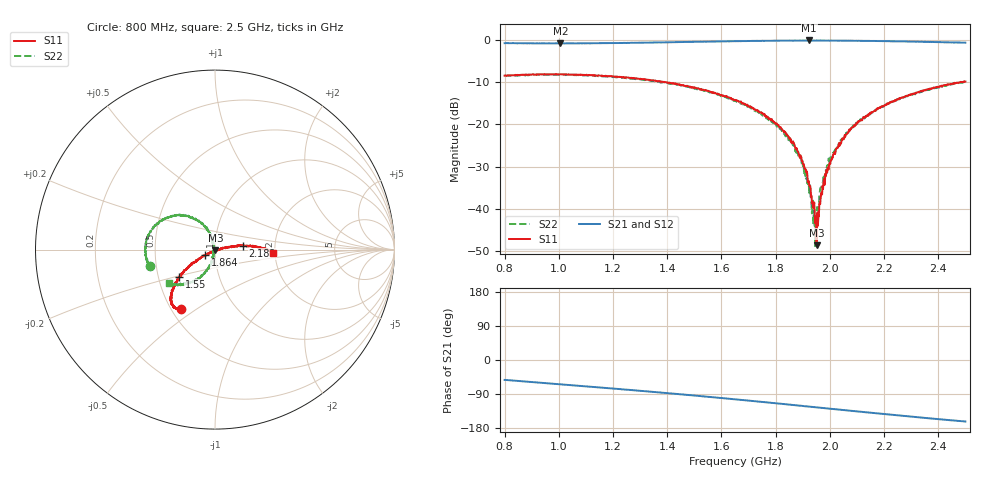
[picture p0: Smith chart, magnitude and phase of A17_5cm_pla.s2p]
!Keysight Technologies N9950B: A.12.38
!Date: Monday, 17 April 2023 20:57:29
!Timezone: (UTC-06:00) Central Time (US & Canada)
!Model: N9950B
!Serial: MY61131330
!GPS Latitude:
!GPS Longitude:
!GPS TimeStamp: 0001-01-01 00:00:00Z
!GPS Seconds Since Last Read: 0
!CHECKSUM:1011359305
!Correction: S11(ON U)S21(ON U)S12(ON U)S22(ON U)
!S2P File: Measurements:S11,S21,S12,S22:
# Hz S DB R 50
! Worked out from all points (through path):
!   1001 points, 800 MHz to 2.5 GHz, reference 50 ohm
!   highest |S21| = -0.07 dB at 1.924 GHz (marker M1); lowest = -0.8 dB at 1.006 GHz (marker M2)
!   group delay of S21, straight-line fit = 183 ps
!   lowest |S11| = -48.6 dB at 1.951 GHz (marker M3), VSWR 1.01, Z = 50.2 - j0.305 ohm
!   |S11| at or under -10 dB: 1.397 GHz to 2.48 GHz (1.082 GHz wide, 55.8 % of centre)
!   |S22| runs from -48.9 to -8.2 dB; largest |S21 - S12| = 0.0059
!   S11 on the Smith chart (normalised r, x): 800 MHz: 0.56, -0.43; 1.55 GHz: 0.64, -0.21; 1.864 GHz: 0.89, -0.06; 2.182 GHz: 1.37, +0.06; 2.5 GHz: 1.95, -0.08
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8e8  -8.41 -119.9  -0.72 -52.6  -0.69 -52.5  -8.55 -165.6
1.0057e9  -8.09 -125.8  -0.79 -64.3  -0.76 -64.3  -8.21 177.6
1.0839e9  -8.21 -127.9  -0.74 -68.7  -0.73 -68.7  -8.35 171.0
1.3678e9  -9.71 -136.5  -0.54 -85.4  -0.53 -85.4  -9.82 146.2
1.5497e9  -12.00 -142.6  -0.36 -97.0  -0.34 -97.0  -12.09 130.0
1.65e9  -14.17 -145.7  -0.25 -103.7  -0.25 -103.7  -14.35 122.3
1.7877e9  -19.14 -148.9  -0.13 -113.1  -0.12 -113.2  -19.51 109.7
1.8642e9  -23.97 -149.4  -0.12 -118.7  -0.09 -118.7  -24.84 103.0
1.8948e9  -27.75 -147.5  -0.11 -121.0  -0.08 -120.9  -28.49 104.2
1.9237e9  -34.50 -134.2  -0.07 -123.0  -0.10 -123.0  -36.23 113.9
1.9339e9  -38.62 -117.3  -0.11 -123.9  -0.11 -123.7  -41.11 114.5
1.9407e9  -39.39 -111.3  -0.10 -124.2  -0.08 -124.2  -41.49 132.9
1.9509e9  -48.65 -55.2  -0.08 -124.9  -0.06 -124.9  -40.81 -173.7
1.9577e9  -41.44 -23.7  -0.10 -125.5  -0.09 -125.5  -40.73 -138.3
1.9696e9  -36.22 -3.3  -0.10 -126.3  -0.10 -126.3  -34.59 -114.6
1.9917e9  -30.29 6.8  -0.09 -127.9  -0.10 -127.9  -30.09 -109.7
2.0206e9  -26.66 11.9  -0.10 -129.9  -0.09 -130.1  -25.83 -103.5
2.0784e9  -20.97 9.9  -0.12 -134.0  -0.13 -134.1  -21.09 -106.0
2.1821e9  -16.01 7.4  -0.22 -141.5  -0.20 -141.5  -16.27 -116.1
2.2178e9  -14.98 6.7  -0.26 -143.9  -0.25 -143.9  -15.04 -118.7
2.3487e9  -11.83 2.0  -0.41 -152.7  -0.38 -152.7  -12.06 -131.0
2.5e9  -9.80 -3.1  -0.59 -162.3  -0.56 -162.5  -9.97 -143.8
